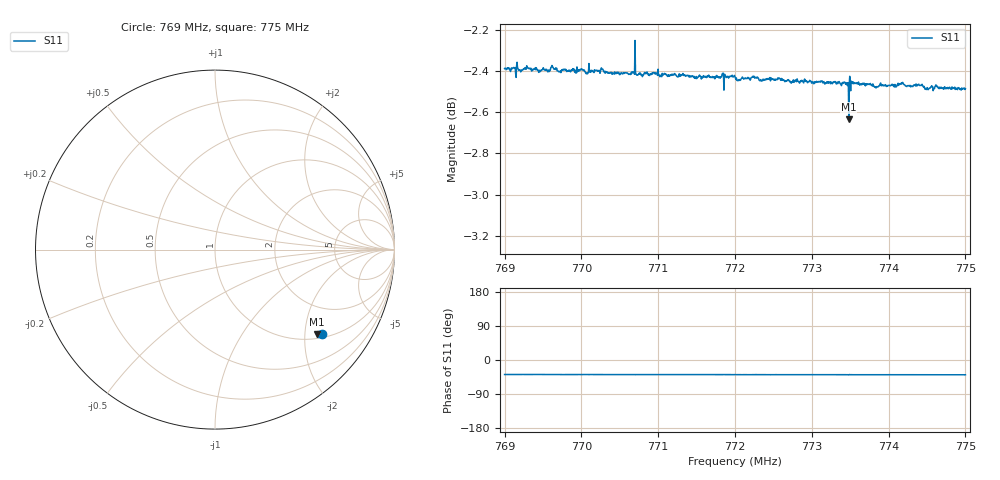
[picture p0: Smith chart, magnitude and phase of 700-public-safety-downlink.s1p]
! Calibrated averaged scanner-service zoom
# Hz S RI R 50
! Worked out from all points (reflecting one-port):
!   1001 points, 769 MHz to 775 MHz, reference 50 ohm
!   lowest |S11| = -2.6 dB at 773.482 MHz (marker M1), VSWR 6.64, Z = 55.9 - j116 ohm
!   phase of S11 starts at -38 deg and turns -1 deg over the sweep
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7.69e8  0.5963 -0.4705
7.69384e8  0.596 -0.4705
7.69456e8  0.5956 -0.4695
7.69618e8  0.5968 -0.4721
7.6975e8  0.5945 -0.4717
7.69834e8  0.5958 -0.4697
7.70254e8  0.5952 -0.4716
7.705e8  0.5929 -0.4708
7.70638e8  0.5933 -0.4704
7.7068e8  0.5935 -0.4717
7.70788e8  0.5928 -0.4708
7.7125e8  0.5909 -0.4718
7.72e8  0.5905 -0.4723
7.72054e8  0.5896 -0.4716
7.72264e8  0.5905 -0.472
7.7245e8  0.5891 -0.4728
7.7275e8  0.5882 -0.4714
7.73446e8  0.5876 -0.472
7.73452e8  0.5873 -0.4713
7.73482e8  0.5693 -0.4702
7.735e8  0.5873 -0.4717
7.73512e8  0.5878 -0.4728
7.73518e8  0.5875 -0.4724
7.73836e8  0.5857 -0.4707
7.7425e8  0.5854 -0.4727
7.74418e8  0.586 -0.4723
7.74502e8  0.5852 -0.4716
7.75e8  0.5835 -0.473
